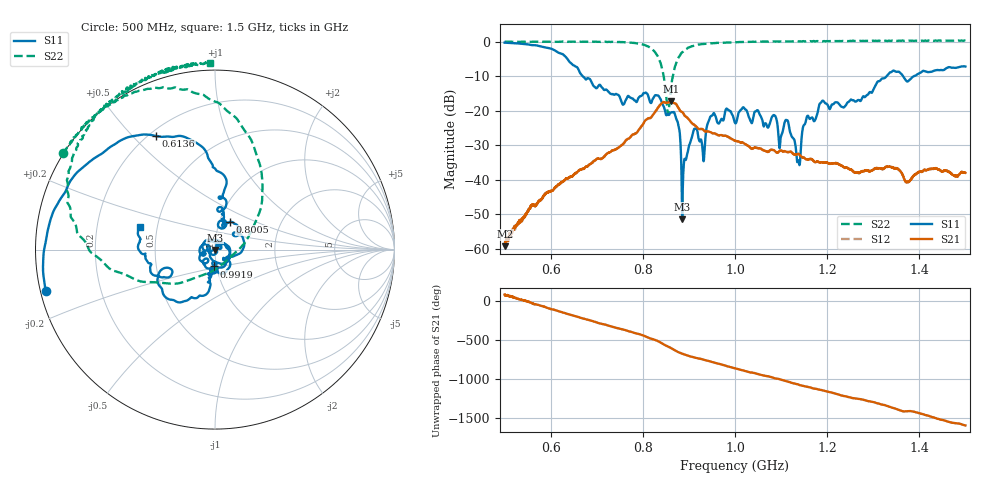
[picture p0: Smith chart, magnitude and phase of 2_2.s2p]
!Keysight Technologies,N5242B,MY48420860,A.13.80.08
!Date: Saturday, September 26, 2020 12:27:51
!Correction: S11(Full 2 Port(1,2))
!S21(Full 2 Port(1,2))
!S12(Full 2 Port(1,2))
!S22(Full 2 Port(1,2))
!S2P File: Measurements: S11, S21, S12, S22:
# Hz S  dB  R 50
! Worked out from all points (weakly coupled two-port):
!   2650 points, 500 MHz to 1.5 GHz, reference 50 ohm
!   highest |S21| = -17.28 dB at 860.5 MHz (marker M1); lowest = -59.2 dB at 500.4 MHz (marker M2)
!   lowest |S11| = -51.5 dB at 885.4 MHz (marker M3), VSWR 1.01, Z = 50 - j0.266 ohm
!   |S11| at or under -10 dB: 669.6 MHz to 1.329 GHz (659.1 MHz wide, 66 % of centre); 1.365 GHz to 1.388 GHz (22.73 MHz wide, 1.65 % of centre)
!   |S22| runs from -21.1 to 0.4 dB; largest |S21 - S12| = 0.00053
!   S11 on the Smith chart (normalised r, x): 500 MHz: 0.01, -0.12; 613.6 MHz: 0.23, +0.58; 800.5 MHz: 1.12, +0.36; 991.9 MHz: 0.97, -0.18; 1.5 GHz: 0.40, +0.12
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5e8  -0.25 -166.3  -58.79 76.4  -58.24 68.3  0.02 147.6
5.003775e8  -0.25 -166.5  -59.23 65.7  -58.18 66.9  0.02 147.6
6.136278e8  -2.93 117.6  -41.83 -128.2  -41.78 -129.1  -0.00 138.2
6.668554e8  -9.57 81.2  -36.93 136.9  -36.99 137.7  0.01 132.8
8.004908e8  -15.06 61.3  -23.85 -83.3  -23.87 -83.4  -0.84 101.0
8.337108e8  -15.61 9.7  -18.90 -159.5  -18.92 -159.5  -4.62 67.3
8.533409e8  -21.08 -18.9  -17.66 137.9  -17.67 137.8  -19.96 -19.5
8.605134e8  -20.56 -26.9  -17.28 116.2  -17.30 116.1  -14.16 -125.8
8.763684e8  -23.70 -96.7  -18.94 64.3  -18.96 64.2  -4.79 -168.1
8.854285e8  -51.47 -84.7  -20.36 44.8  -20.38 44.8  -3.05 179.7
9.126085e8  -25.16 100.6  -24.15 -5.9  -24.16 -5.8  -1.03 158.3
9.307286e8  -33.21 11.2  -25.43 -33.0  -25.44 -33.0  -0.66 150.4
9.496036e8  -21.43 -7.7  -26.36 -61.7  -26.41 -61.6  -0.44 145.0
9.918837e8  -20.56 -94.1  -28.13 -131.7  -28.16 -131.4  -0.17 137.2
1.000189e9  -23.52 -96.5  -28.65 -143.7  -28.67 -143.9  -0.15 136.0
1.084749e9  -21.25 -175.5  -31.39 92.9  -31.44 93.0  0.12 126.1
1.098716e9  -28.21 -171.0  -31.52 75.1  -31.57 75.2  0.12 124.6
1.112307e9  -22.71 148.4  -31.89 50.9  -31.94 51.0  0.11 123.2
1.137599e9  -34.52 47.2  -32.47 10.1  -32.49 9.8  0.10 121.0
1.166667e9  -21.95 -40.8  -34.06 -33.7  -34.08 -33.4  0.10 118.5
1.333522e9  -9.29 -121.9  -36.11 91.6  -36.20 91.6  0.33 105.1
1.5e9  -7.17 163.6  -37.95 -150.6  -37.95 -150.1  0.34 91.5
